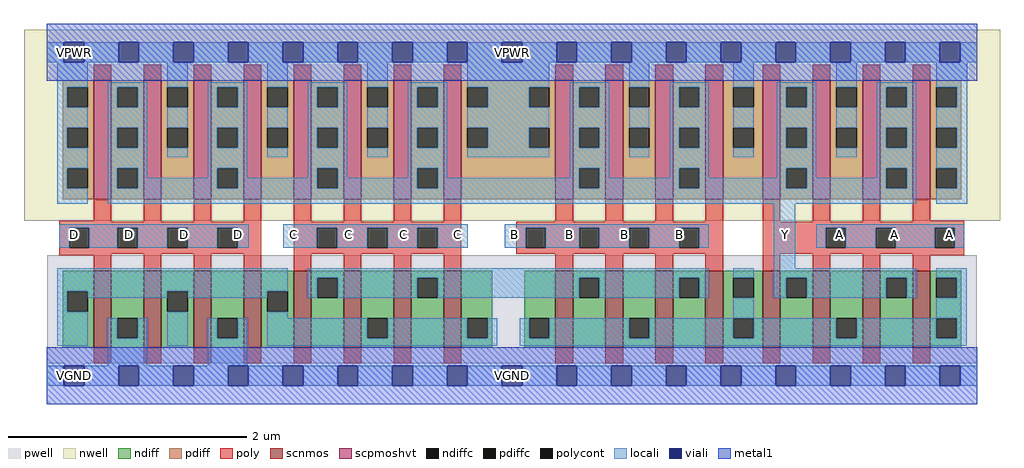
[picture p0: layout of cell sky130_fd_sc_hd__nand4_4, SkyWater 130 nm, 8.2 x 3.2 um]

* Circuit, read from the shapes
.subckt sky130_fd_sc_hd__nand4_4 A B C D VGND VNB VPB VPWR Y
XM1 VGND D n1 VNB sky130_fd_pr__nfet_01v8 w=0.65 l=0.15 m=4
XM2 n2 C n1 VNB sky130_fd_pr__nfet_01v8 w=0.65 l=0.15 m=4
XM3 n2 B n3 VNB sky130_fd_pr__nfet_01v8 w=0.65 l=0.15 m=4
XM4 Y A n3 VNB sky130_fd_pr__nfet_01v8 w=0.65 l=0.15 m=4
XM5 Y D VPWR VPB sky130_fd_pr__pfet_01v8_hvt w=1 l=0.15 m=4
XM6 Y C VPWR VPB sky130_fd_pr__pfet_01v8_hvt w=1 l=0.15 m=4
XM7 Y B VPWR VPB sky130_fd_pr__pfet_01v8_hvt w=1 l=0.15 m=4
XM8 Y A VPWR VPB sky130_fd_pr__pfet_01v8_hvt w=1 l=0.15 m=4
.ends

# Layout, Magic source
magic
tech sky130B
magscale 1 2
<< nwell >>
rect -38 261 1602 582
<< pwell >>
rect 1 21 1563 203
rect 30 -17 64 21
<< scnmos >>
rect 79 47 109 177
rect 163 47 193 177
rect 247 47 277 177
rect 331 47 361 177
rect 415 47 445 177
rect 499 47 529 177
rect 583 47 613 177
rect 667 47 697 177
rect 855 47 885 177
rect 939 47 969 177
rect 1023 47 1053 177
rect 1107 47 1137 177
rect 1203 47 1233 177
rect 1287 47 1317 177
rect 1371 47 1401 177
rect 1455 47 1485 177
<< scpmoshvt >>
rect 79 297 109 497
rect 163 297 193 497
rect 247 297 277 497
rect 331 297 361 497
rect 415 297 445 497
rect 499 297 529 497
rect 583 297 613 497
rect 667 297 697 497
rect 855 297 885 497
rect 939 297 969 497
rect 1023 297 1053 497
rect 1107 297 1137 497
rect 1203 297 1233 497
rect 1287 297 1317 497
rect 1371 297 1401 497
rect 1455 297 1485 497
<< ndiff >>
rect 27 142 79 177
rect 27 108 35 142
rect 69 108 79 142
rect 27 47 79 108
rect 109 97 163 177
rect 109 63 119 97
rect 153 63 163 97
rect 109 47 163 63
rect 193 142 247 177
rect 193 108 203 142
rect 237 108 247 142
rect 193 47 247 108
rect 277 97 331 177
rect 277 63 287 97
rect 321 63 331 97
rect 277 47 331 63
rect 361 142 415 177
rect 361 108 371 142
rect 405 108 415 142
rect 361 47 415 108
rect 445 165 499 177
rect 445 131 455 165
rect 489 131 499 165
rect 445 47 499 131
rect 529 97 583 177
rect 529 63 539 97
rect 573 63 583 97
rect 529 47 583 63
rect 613 165 667 177
rect 613 131 623 165
rect 657 131 667 165
rect 613 47 667 131
rect 697 97 749 177
rect 697 63 707 97
rect 741 63 749 97
rect 697 47 749 63
rect 803 97 855 177
rect 803 63 811 97
rect 845 63 855 97
rect 803 47 855 63
rect 885 165 939 177
rect 885 131 895 165
rect 929 131 939 165
rect 885 47 939 131
rect 969 97 1023 177
rect 969 63 979 97
rect 1013 63 1023 97
rect 969 47 1023 63
rect 1053 165 1107 177
rect 1053 131 1063 165
rect 1097 131 1107 165
rect 1053 47 1107 131
rect 1137 165 1203 177
rect 1137 131 1154 165
rect 1188 131 1203 165
rect 1137 97 1203 131
rect 1137 63 1154 97
rect 1188 63 1203 97
rect 1137 47 1203 63
rect 1233 165 1287 177
rect 1233 131 1243 165
rect 1277 131 1287 165
rect 1233 47 1287 131
rect 1317 97 1371 177
rect 1317 63 1327 97
rect 1361 63 1371 97
rect 1317 47 1371 63
rect 1401 165 1455 177
rect 1401 131 1411 165
rect 1445 131 1455 165
rect 1401 47 1455 131
rect 1485 165 1537 177
rect 1485 131 1495 165
rect 1529 131 1537 165
rect 1485 97 1537 131
rect 1485 63 1495 97
rect 1529 63 1537 97
rect 1485 47 1537 63
<< pdiff >>
rect 27 485 79 497
rect 27 451 35 485
rect 69 451 79 485
rect 27 417 79 451
rect 27 383 35 417
rect 69 383 79 417
rect 27 349 79 383
rect 27 315 35 349
rect 69 315 79 349
rect 27 297 79 315
rect 109 485 163 497
rect 109 451 119 485
rect 153 451 163 485
rect 109 417 163 451
rect 109 383 119 417
rect 153 383 163 417
rect 109 349 163 383
rect 109 315 119 349
rect 153 315 163 349
rect 109 297 163 315
rect 193 485 247 497
rect 193 451 203 485
rect 237 451 247 485
rect 193 417 247 451
rect 193 383 203 417
rect 237 383 247 417
rect 193 297 247 383
rect 277 485 331 497
rect 277 451 287 485
rect 321 451 331 485
rect 277 417 331 451
rect 277 383 287 417
rect 321 383 331 417
rect 277 349 331 383
rect 277 315 287 349
rect 321 315 331 349
rect 277 297 331 315
rect 361 485 415 497
rect 361 451 371 485
rect 405 451 415 485
rect 361 417 415 451
rect 361 383 371 417
rect 405 383 415 417
rect 361 297 415 383
rect 445 485 499 497
rect 445 451 455 485
rect 489 451 499 485
rect 445 417 499 451
rect 445 383 455 417
rect 489 383 499 417
rect 445 349 499 383
rect 445 315 455 349
rect 489 315 499 349
rect 445 297 499 315
rect 529 485 583 497
rect 529 451 539 485
rect 573 451 583 485
rect 529 417 583 451
rect 529 383 539 417
rect 573 383 583 417
rect 529 297 583 383
rect 613 485 667 497
rect 613 451 623 485
rect 657 451 667 485
rect 613 417 667 451
rect 613 383 623 417
rect 657 383 667 417
rect 613 349 667 383
rect 613 315 623 349
rect 657 315 667 349
rect 613 297 667 315
rect 697 485 855 497
rect 697 451 707 485
rect 741 451 811 485
rect 845 451 855 485
rect 697 417 855 451
rect 697 383 707 417
rect 741 383 811 417
rect 845 383 855 417
rect 697 297 855 383
rect 885 485 939 497
rect 885 451 895 485
rect 929 451 939 485
rect 885 417 939 451
rect 885 383 895 417
rect 929 383 939 417
rect 885 349 939 383
rect 885 315 895 349
rect 929 315 939 349
rect 885 297 939 315
rect 969 485 1023 497
rect 969 451 979 485
rect 1013 451 1023 485
rect 969 417 1023 451
rect 969 383 979 417
rect 1013 383 1023 417
rect 969 297 1023 383
rect 1053 485 1107 497
rect 1053 451 1063 485
rect 1097 451 1107 485
rect 1053 417 1107 451
rect 1053 383 1063 417
rect 1097 383 1107 417
rect 1053 349 1107 383
rect 1053 315 1063 349
rect 1097 315 1107 349
rect 1053 297 1107 315
rect 1137 485 1203 497
rect 1137 451 1154 485
rect 1188 451 1203 485
rect 1137 417 1203 451
rect 1137 383 1154 417
rect 1188 383 1203 417
rect 1137 297 1203 383
rect 1233 485 1287 497
rect 1233 451 1243 485
rect 1277 451 1287 485
rect 1233 417 1287 451
rect 1233 383 1243 417
rect 1277 383 1287 417
rect 1233 349 1287 383
rect 1233 315 1243 349
rect 1277 315 1287 349
rect 1233 297 1287 315
rect 1317 485 1371 497
rect 1317 451 1327 485
rect 1361 451 1371 485
rect 1317 417 1371 451
rect 1317 383 1327 417
rect 1361 383 1371 417
rect 1317 297 1371 383
rect 1401 485 1455 497
rect 1401 451 1411 485
rect 1445 451 1455 485
rect 1401 417 1455 451
rect 1401 383 1411 417
rect 1445 383 1455 417
rect 1401 349 1455 383
rect 1401 315 1411 349
rect 1445 315 1455 349
rect 1401 297 1455 315
rect 1485 485 1537 497
rect 1485 451 1495 485
rect 1529 451 1537 485
rect 1485 417 1537 451
rect 1485 383 1495 417
rect 1529 383 1537 417
rect 1485 349 1537 383
rect 1485 315 1495 349
rect 1529 315 1537 349
rect 1485 297 1537 315
<< ndiffc >>
rect 35 108 69 142
rect 119 63 153 97
rect 203 108 237 142
rect 287 63 321 97
rect 371 108 405 142
rect 455 131 489 165
rect 539 63 573 97
rect 623 131 657 165
rect 707 63 741 97
rect 811 63 845 97
rect 895 131 929 165
rect 979 63 1013 97
rect 1063 131 1097 165
rect 1154 131 1188 165
rect 1154 63 1188 97
rect 1243 131 1277 165
rect 1327 63 1361 97
rect 1411 131 1445 165
rect 1495 131 1529 165
rect 1495 63 1529 97
<< pdiffc >>
rect 35 451 69 485
rect 35 383 69 417
rect 35 315 69 349
rect 119 451 153 485
rect 119 383 153 417
rect 119 315 153 349
rect 203 451 237 485
rect 203 383 237 417
rect 287 451 321 485
rect 287 383 321 417
rect 287 315 321 349
rect 371 451 405 485
rect 371 383 405 417
rect 455 451 489 485
rect 455 383 489 417
rect 455 315 489 349
rect 539 451 573 485
rect 539 383 573 417
rect 623 451 657 485
rect 623 383 657 417
rect 623 315 657 349
rect 707 451 741 485
rect 811 451 845 485
rect 707 383 741 417
rect 811 383 845 417
rect 895 451 929 485
rect 895 383 929 417
rect 895 315 929 349
rect 979 451 1013 485
rect 979 383 1013 417
rect 1063 451 1097 485
rect 1063 383 1097 417
rect 1063 315 1097 349
rect 1154 451 1188 485
rect 1154 383 1188 417
rect 1243 451 1277 485
rect 1243 383 1277 417
rect 1243 315 1277 349
rect 1327 451 1361 485
rect 1327 383 1361 417
rect 1411 451 1445 485
rect 1411 383 1445 417
rect 1411 315 1445 349
rect 1495 451 1529 485
rect 1495 383 1529 417
rect 1495 315 1529 349
<< poly >>
rect 79 497 109 523
rect 163 497 193 523
rect 247 497 277 523
rect 331 497 361 523
rect 415 497 445 523
rect 499 497 529 523
rect 583 497 613 523
rect 667 497 697 523
rect 855 497 885 523
rect 939 497 969 523
rect 1023 497 1053 523
rect 1107 497 1137 523
rect 1203 497 1233 523
rect 1287 497 1317 523
rect 1371 497 1401 523
rect 1455 497 1485 523
rect 79 261 109 297
rect 21 259 109 261
rect 163 259 193 297
rect 247 259 277 297
rect 331 259 361 297
rect 21 249 361 259
rect 21 215 38 249
rect 72 215 119 249
rect 153 215 203 249
rect 237 215 287 249
rect 321 215 361 249
rect 21 205 361 215
rect 21 203 109 205
rect 79 177 109 203
rect 163 177 193 205
rect 247 177 277 205
rect 331 177 361 205
rect 415 259 445 297
rect 499 259 529 297
rect 583 259 613 297
rect 667 259 697 297
rect 855 259 885 297
rect 939 259 969 297
rect 1023 259 1053 297
rect 1107 259 1137 297
rect 415 249 697 259
rect 415 215 454 249
rect 488 215 539 249
rect 573 215 623 249
rect 657 215 697 249
rect 415 205 697 215
rect 789 249 1137 259
rect 789 215 805 249
rect 839 215 895 249
rect 929 215 979 249
rect 1013 215 1063 249
rect 1097 215 1137 249
rect 789 205 1137 215
rect 415 177 445 205
rect 499 177 529 205
rect 583 177 613 205
rect 667 177 697 205
rect 855 177 885 205
rect 939 177 969 205
rect 1023 177 1053 205
rect 1107 177 1137 205
rect 1203 259 1233 297
rect 1287 259 1317 297
rect 1371 259 1401 297
rect 1455 261 1485 297
rect 1455 259 1542 261
rect 1203 249 1542 259
rect 1203 215 1309 249
rect 1343 215 1393 249
rect 1427 215 1492 249
rect 1526 215 1542 249
rect 1203 205 1542 215
rect 1203 177 1233 205
rect 1287 177 1317 205
rect 1371 177 1401 205
rect 1455 203 1542 205
rect 1455 177 1485 203
rect 79 21 109 47
rect 163 21 193 47
rect 247 21 277 47
rect 331 21 361 47
rect 415 21 445 47
rect 499 21 529 47
rect 583 21 613 47
rect 667 21 697 47
rect 855 21 885 47
rect 939 21 969 47
rect 1023 21 1053 47
rect 1107 21 1137 47
rect 1203 21 1233 47
rect 1287 21 1317 47
rect 1371 21 1401 47
rect 1455 21 1485 47
<< polycont >>
rect 38 215 72 249
rect 119 215 153 249
rect 203 215 237 249
rect 287 215 321 249
rect 454 215 488 249
rect 539 215 573 249
rect 623 215 657 249
rect 805 215 839 249
rect 895 215 929 249
rect 979 215 1013 249
rect 1063 215 1097 249
rect 1309 215 1343 249
rect 1393 215 1427 249
rect 1492 215 1526 249
<< locali >>
rect 0 527 29 561
rect 63 527 121 561
rect 155 527 213 561
rect 247 527 305 561
rect 339 527 397 561
rect 431 527 489 561
rect 523 527 581 561
rect 615 527 673 561
rect 707 527 765 561
rect 799 527 857 561
rect 891 527 949 561
rect 983 527 1041 561
rect 1075 527 1133 561
rect 1167 527 1225 561
rect 1259 527 1317 561
rect 1351 527 1409 561
rect 1443 527 1501 561
rect 1535 527 1564 561
rect 18 485 69 527
rect 18 451 35 485
rect 18 417 69 451
rect 18 383 35 417
rect 18 349 69 383
rect 18 315 35 349
rect 18 289 69 315
rect 103 485 169 493
rect 103 451 119 485
rect 153 451 169 485
rect 103 417 169 451
rect 103 383 119 417
rect 153 383 169 417
rect 103 349 169 383
rect 203 485 237 527
rect 203 417 237 451
rect 203 367 237 383
rect 271 485 337 493
rect 271 451 287 485
rect 321 451 337 485
rect 271 417 337 451
rect 271 383 287 417
rect 321 383 337 417
rect 103 315 119 349
rect 153 333 169 349
rect 271 349 337 383
rect 371 485 405 527
rect 371 417 405 451
rect 371 367 405 383
rect 439 485 505 493
rect 439 451 455 485
rect 489 451 505 485
rect 439 417 505 451
rect 439 383 455 417
rect 489 383 505 417
rect 271 333 287 349
rect 153 315 287 333
rect 321 333 337 349
rect 439 349 505 383
rect 539 485 573 527
rect 539 417 573 451
rect 539 367 573 383
rect 607 485 673 493
rect 607 451 623 485
rect 657 451 673 485
rect 607 417 673 451
rect 607 383 623 417
rect 657 383 673 417
rect 439 333 455 349
rect 321 315 455 333
rect 489 333 505 349
rect 607 349 673 383
rect 707 485 845 527
rect 741 451 811 485
rect 707 417 845 451
rect 741 383 811 417
rect 707 367 845 383
rect 879 485 945 493
rect 879 451 895 485
rect 929 451 945 485
rect 879 417 945 451
rect 879 383 895 417
rect 929 383 945 417
rect 607 333 623 349
rect 489 315 623 333
rect 657 333 673 349
rect 879 349 945 383
rect 979 485 1013 527
rect 979 417 1013 451
rect 979 367 1013 383
rect 1047 485 1113 493
rect 1047 451 1063 485
rect 1097 451 1113 485
rect 1047 417 1113 451
rect 1047 383 1063 417
rect 1097 383 1113 417
rect 879 333 895 349
rect 657 315 895 333
rect 929 333 945 349
rect 1047 349 1113 383
rect 1154 485 1188 527
rect 1154 417 1188 451
rect 1154 367 1188 383
rect 1227 485 1293 493
rect 1227 451 1243 485
rect 1277 451 1293 485
rect 1227 417 1293 451
rect 1227 383 1243 417
rect 1277 383 1293 417
rect 1047 333 1063 349
rect 929 315 1063 333
rect 1097 333 1113 349
rect 1227 349 1293 383
rect 1327 485 1361 527
rect 1327 417 1361 451
rect 1327 367 1361 383
rect 1395 485 1461 493
rect 1395 451 1411 485
rect 1445 451 1461 485
rect 1395 417 1461 451
rect 1395 383 1411 417
rect 1445 383 1461 417
rect 1227 333 1243 349
rect 1097 315 1243 333
rect 1277 333 1293 349
rect 1395 349 1461 383
rect 1395 333 1411 349
rect 1277 315 1411 333
rect 1445 315 1461 349
rect 103 289 1461 315
rect 1495 485 1547 527
rect 1529 451 1547 485
rect 1495 417 1547 451
rect 1529 383 1547 417
rect 1495 349 1547 383
rect 1529 315 1547 349
rect 1495 289 1547 315
rect 21 249 340 255
rect 21 215 38 249
rect 72 215 119 249
rect 153 215 203 249
rect 237 215 287 249
rect 321 215 340 249
rect 398 249 708 255
rect 398 215 454 249
rect 488 215 539 249
rect 573 215 623 249
rect 657 215 708 249
rect 770 249 1113 255
rect 770 215 805 249
rect 839 215 895 249
rect 929 215 979 249
rect 1013 215 1063 249
rect 1097 215 1113 249
rect 1222 181 1258 289
rect 1293 249 1542 255
rect 1293 215 1309 249
rect 1343 215 1393 249
rect 1427 215 1492 249
rect 1526 215 1542 249
rect 18 142 405 181
rect 18 108 35 142
rect 69 131 203 142
rect 18 51 69 108
rect 237 131 371 142
rect 103 63 119 97
rect 153 63 169 97
rect 103 17 169 63
rect 203 51 237 108
rect 439 165 1113 181
rect 439 131 455 165
rect 489 131 623 165
rect 657 131 895 165
rect 929 131 1063 165
rect 1097 131 1113 165
rect 1154 165 1188 181
rect 1222 165 1461 181
rect 1222 131 1243 165
rect 1277 131 1411 165
rect 1445 131 1461 165
rect 1495 165 1546 181
rect 1529 131 1546 165
rect 371 97 405 108
rect 1154 97 1188 131
rect 1495 97 1546 131
rect 271 63 287 97
rect 321 63 337 97
rect 271 17 337 63
rect 371 63 539 97
rect 573 63 707 97
rect 741 63 757 97
rect 371 51 757 63
rect 795 63 811 97
rect 845 63 979 97
rect 1013 63 1154 97
rect 1188 63 1327 97
rect 1361 63 1495 97
rect 1529 63 1546 97
rect 795 51 1546 63
rect 0 -17 29 17
rect 63 -17 121 17
rect 155 -17 213 17
rect 247 -17 305 17
rect 339 -17 397 17
rect 431 -17 489 17
rect 523 -17 581 17
rect 615 -17 673 17
rect 707 -17 765 17
rect 799 -17 857 17
rect 891 -17 949 17
rect 983 -17 1041 17
rect 1075 -17 1133 17
rect 1167 -17 1225 17
rect 1259 -17 1317 17
rect 1351 -17 1409 17
rect 1443 -17 1501 17
rect 1535 -17 1564 17
<< viali >>
rect 29 527 63 561
rect 121 527 155 561
rect 213 527 247 561
rect 305 527 339 561
rect 397 527 431 561
rect 489 527 523 561
rect 581 527 615 561
rect 673 527 707 561
rect 765 527 799 561
rect 857 527 891 561
rect 949 527 983 561
rect 1041 527 1075 561
rect 1133 527 1167 561
rect 1225 527 1259 561
rect 1317 527 1351 561
rect 1409 527 1443 561
rect 1501 527 1535 561
rect 29 -17 63 17
rect 121 -17 155 17
rect 213 -17 247 17
rect 305 -17 339 17
rect 397 -17 431 17
rect 489 -17 523 17
rect 581 -17 615 17
rect 673 -17 707 17
rect 765 -17 799 17
rect 857 -17 891 17
rect 949 -17 983 17
rect 1041 -17 1075 17
rect 1133 -17 1167 17
rect 1225 -17 1259 17
rect 1317 -17 1351 17
rect 1409 -17 1443 17
rect 1501 -17 1535 17
<< metal1 >>
rect 0 561 1564 592
rect 0 527 29 561
rect 63 527 121 561
rect 155 527 213 561
rect 247 527 305 561
rect 339 527 397 561
rect 431 527 489 561
rect 523 527 581 561
rect 615 527 673 561
rect 707 527 765 561
rect 799 527 857 561
rect 891 527 949 561
rect 983 527 1041 561
rect 1075 527 1133 561
rect 1167 527 1225 561
rect 1259 527 1317 561
rect 1351 527 1409 561
rect 1443 527 1501 561
rect 1535 527 1564 561
rect 0 496 1564 527
rect 0 17 1564 48
rect 0 -17 29 17
rect 63 -17 121 17
rect 155 -17 213 17
rect 247 -17 305 17
rect 339 -17 397 17
rect 431 -17 489 17
rect 523 -17 581 17
rect 615 -17 673 17
rect 707 -17 765 17
rect 799 -17 857 17
rect 891 -17 949 17
rect 983 -17 1041 17
rect 1075 -17 1133 17
rect 1167 -17 1225 17
rect 1259 -17 1317 17
rect 1351 -17 1409 17
rect 1443 -17 1501 17
rect 1535 -17 1564 17
rect 0 -48 1564 -17
<< labels >>
flabel locali s 1500 221 1534 255 0 FreeSans 200 0 0 0 A
port 1 nsew signal input
flabel locali s 1408 221 1442 255 0 FreeSans 200 0 0 0 A
port 1 nsew signal input
flabel locali s 1316 221 1350 255 0 FreeSans 200 0 0 0 A
port 1 nsew signal input
flabel locali s 30 221 64 255 0 FreeSans 200 0 0 0 D
port 4 nsew signal input
flabel locali s 122 221 156 255 0 FreeSans 200 0 0 0 D
port 4 nsew signal input
flabel locali s 214 221 248 255 0 FreeSans 200 0 0 0 D
port 4 nsew signal input
flabel locali s 306 221 340 255 0 FreeSans 200 0 0 0 D
port 4 nsew signal input
flabel locali s 398 221 432 255 0 FreeSans 200 0 0 0 C
port 3 nsew signal input
flabel locali s 490 221 524 255 0 FreeSans 200 0 0 0 C
port 3 nsew signal input
flabel locali s 582 221 616 255 0 FreeSans 200 0 0 0 C
port 3 nsew signal input
flabel locali s 674 221 708 255 0 FreeSans 200 0 0 0 C
port 3 nsew signal input
flabel locali s 770 221 804 255 0 FreeSans 200 0 0 0 B
port 2 nsew signal input
flabel locali s 862 221 896 255 0 FreeSans 200 0 0 0 B
port 2 nsew signal input
flabel locali s 954 221 988 255 0 FreeSans 200 0 0 0 B
port 2 nsew signal input
flabel locali s 1046 221 1080 255 0 FreeSans 200 0 0 0 B
port 2 nsew signal input
flabel locali s 1224 221 1258 255 0 FreeSans 200 0 0 0 Y
port 9 nsew signal output
flabel metal1 s 30 527 64 561 0 FreeSans 200 0 0 0 VPWR
port 8 nsew power bidirectional abutment
flabel metal1 s 30 -17 64 17 0 FreeSans 200 0 0 0 VGND
port 5 nsew ground bidirectional abutment
flabel nwell s 30 527 64 561 0 FreeSans 200 0 0 0 VPB
port 7 nsew power bidirectional
flabel pwell s 30 -17 64 17 0 FreeSans 200 0 0 0 VNB
port 6 nsew ground bidirectional
rlabel comment s 0 0 0 0 4 nand4_4
rlabel metal1 s 0 -48 1564 48 1 VGND
port 5 nsew ground bidirectional abutment
rlabel metal1 s 0 496 1564 592 1 VPWR
port 8 nsew power bidirectional abutment
<< properties >>
string FIXED_BBOX 0 0 1564 544
string GDS_END 1890302
string GDS_FILE $PDKPATH/libs.ref/sky130_fd_sc_hd/gds/sky130_fd_sc_hd.gds
string GDS_START 1876896
string LEFclass CORE
string LEFsite unithd
string LEFsymmetry X Y R90
string path 0.000 13.600 39.100 13.600 
<< end >>
